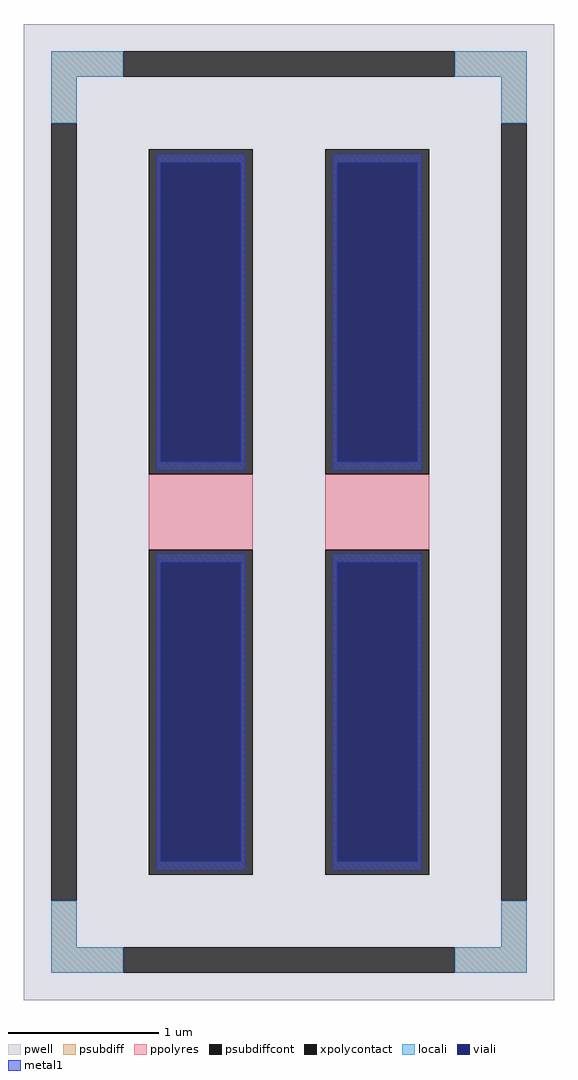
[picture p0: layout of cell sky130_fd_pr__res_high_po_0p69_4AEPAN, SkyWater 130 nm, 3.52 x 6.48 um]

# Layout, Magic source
magic
tech sky130A
magscale 1 2
<< pwell >>
rect -352 -648 352 648
<< psubdiff >>
rect -316 578 -220 612
rect 220 578 316 612
rect -316 516 -282 578
rect 282 516 316 578
rect -316 -578 -282 -516
rect 282 -578 316 -516
rect -316 -612 -220 -578
rect 220 -612 316 -578
<< psubdiffcont >>
rect -220 578 220 612
rect -316 -516 -282 516
rect 282 -516 316 516
rect -220 -612 220 -578
<< xpolycontact >>
rect -186 50 -48 482
rect -186 -482 -48 -50
rect 48 50 186 482
rect 48 -482 186 -50
<< ppolyres >>
rect -186 -50 -48 50
rect 48 -50 186 50
<< locali >>
rect -316 578 -220 612
rect 220 578 316 612
rect -316 516 -282 578
rect 282 516 316 578
rect -316 -578 -282 -516
rect 282 -578 316 -516
rect -316 -612 -220 -578
rect 220 -612 316 -578
<< viali >>
rect -170 67 -64 464
rect 64 67 170 464
rect -170 -464 -64 -67
rect 64 -464 170 -67
<< metal1 >>
rect -176 464 -58 476
rect -176 67 -170 464
rect -64 67 -58 464
rect -176 55 -58 67
rect 58 464 176 476
rect 58 67 64 464
rect 170 67 176 464
rect 58 55 176 67
rect -176 -67 -58 -55
rect -176 -464 -170 -67
rect -64 -464 -58 -67
rect -176 -476 -58 -464
rect 58 -67 176 -55
rect 58 -464 64 -67
rect 170 -464 176 -67
rect 58 -476 176 -464
<< properties >>
string FIXED_BBOX -299 -595 299 595
string gencell sky130_fd_pr__res_high_po_0p69
string library sky130
string parameters w 0.690 l 0.5 m 1 nx 2 wmin 0.690 lmin 0.50 rho 319.8 val 796.434 dummy 0 dw 0.0 term 194.82 sterm 0.0 caplen 0 guard 1 glc 1 grc 1 gtc 1 gbc 1 compatible {sky130_fd_pr__res_high_po_0p35  sky130_fd_pr__res_high_po_0p69 sky130_fd_pr__res_high_po_1p41  sky130_fd_pr__res_high_po_2p85 sky130_fd_pr__res_high_po_5p73} snake 0 full_metal 1 wmax 0.690 n_guard 0 hv_guard 0 vias 1 viagb 0 viagt 0 viagl 0 viagr 0
<< end >>
